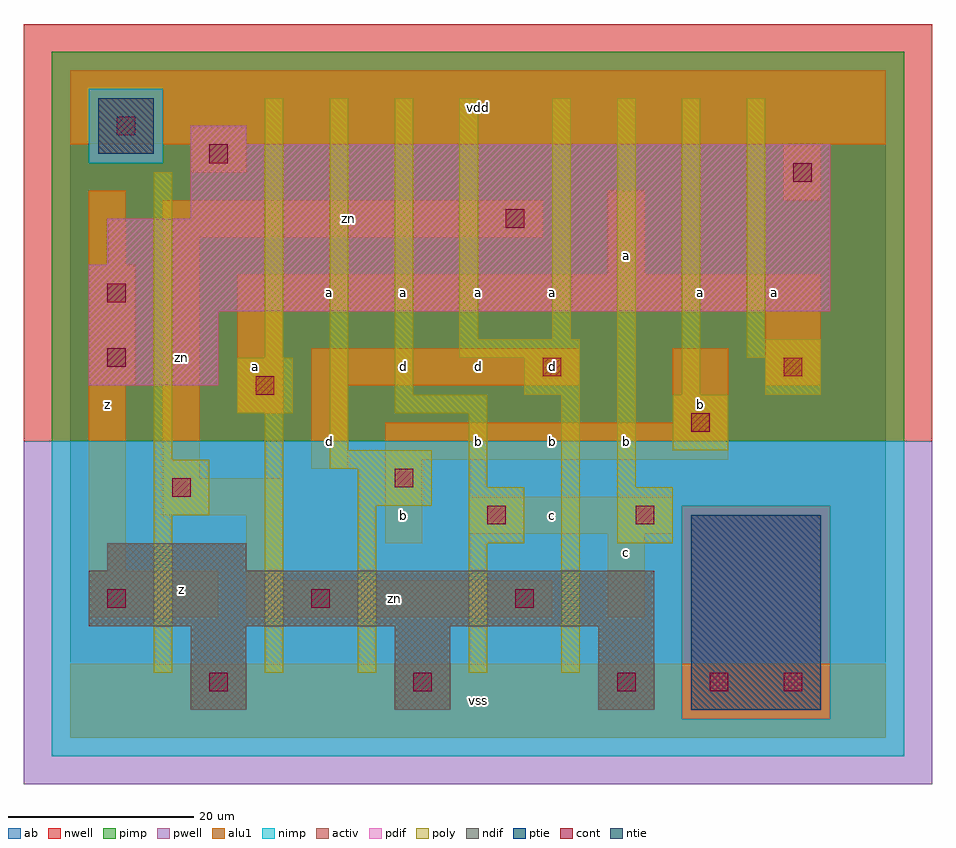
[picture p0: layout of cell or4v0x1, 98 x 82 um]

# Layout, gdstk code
import gdstk
lib = gdstk.Library(unit=1e-6, precision=1e-09)
def R(c, l, rs):  # rectangles x0, y0, x1, y1
    for r in rs: c.add(gdstk.rectangle(r[:2], r[2:], *l))
def A(c, l, x, y, w, h, nx, ny, dx, dy):  # array of equal rectangles
    R(c, l, [(x+i*dx, y+j*dy, x+i*dx+w, y+j*dy+h) for i in range(nx) for j in range(ny)])
ndif = (3, 0)
pdif = (4, 0)
ntie = (5, 0)
ptie = (6, 0)
cont = (25, 0)
pwell = (41, 0)
nwell = (42, 0)
activ = (43, 0)
pimp = (44, 0)
nimp = (45, 0)
poly = (46, 0)
alu1 = (49, 0)
ab = (63, 0)

or4v0x1 = lib.new_cell('or4v0x1')
A(or4v0x1, ndif, 13, 3, 6, 9, 3, 1, 22, 0)
R(or4v0x1, ndif, [(2,12,63,18), (4,18,19,21)])
R(or4v0x1, pdif, [(2,38,16,46), (2,46,82,51), (4,51,82,56), (13,56,82,64), (13,64,19,66)])
R(or4v0x1, ntie, [(3,63,9,69)])
R(or4v0x1, ptie, [(67,3,81,24)])
A(or4v0x1, cont, 15, 5, 2, 2, 3, 1, 22, 0)
A(or4v0x1, cont, 4, 14, 2, 2, 3, 1, 22, 0)
R(or4v0x1, cont, [(69,5,71,7), (77,5,79,7), (45,23,47,25), (61,23,63,25), (11,26,13,28), (35,27,37,29), (67,33,69,35), (20,37,22,39), (51,39,53,41), (77,39,79,41), (4,40,6,42), (4,47,6,49), (47,55,49,57), (78,60,80,62), (15,62,17,64), (5,65,7,67)])
R(or4v0x1, pwell, [(-5,-5,93,32)])
R(or4v0x1, nwell, [(-5,32,93,77)])
A(or4v0x1, activ, 13, 3, 6, 9, 3, 1, 22, 0)
R(or4v0x1, activ, [(67,3,81,24), (2,12,63,18), (4,18,19,21), (2,38,16,46), (2,46,82,51), (4,51,82,56), (13,56,82,64), (3,63,9,69), (13,64,19,66)])
R(or4v0x1, pimp, [(66,2,82,25), (-2,32,90,62), (-2,62,2,70), (10,62,90,70), (-2,70,90,74)])
R(or4v0x1, nimp, [(-2,-2,90,2), (-2,2,66,25), (82,2,90,25), (-2,25,90,32), (2,62,10,70)])
R(or4v0x1, poly, [(9,7,11,24), (21,7,23,35), (31,7,33,25), (43,7,45,21), (53,7,55,37), (43,21,49,27), (59,21,65,27), (9,24,15,30), (31,25,39,29), (43,27,45,35), (59,27,61,69), (28,29,39,31), (9,30,11,61), (28,31,30,69), (65,31,71,37), (18,35,24,41), (35,35,45,37), (35,37,37,69), (49,37,55,41), (66,37,68,69), (75,37,81,41), (21,41,23,69), (42,41,55,43), (73,41,81,43), (42,43,44,69), (52,43,54,69), (73,43,75,69)])
R(or4v0x1, alu1, [(0,0,88,8), (2,13,16,18), (19,13,52,17), (58,13,62,22), (19,17,23,24), (2,18,6,38), (34,21,38,30), (43,22,65,26), (10,24,23,28), (10,28,14,54), (26,29,30,38), (34,30,71,34), (65,34,71,42), (18,35,23,46), (2,38,7,51), (26,38,55,42), (75,38,81,46), (18,46,81,50), (58,50,62,59), (2,51,6,59), (10,54,51,58), (77,58,81,64), (13,61,19,64), (0,64,88,72)])
R(or4v0x1, ab, [(0,0,88,72)])
or4v0x1.add(gdstk.Label('zn', (12,41), layer=49, texttype=0))
or4v0x1.add(gdstk.Label('zn', (35,15), layer=49, texttype=0))
or4v0x1.add(gdstk.Label('zn', (30,56), layer=49, texttype=0))
or4v0x1.add(gdstk.Label('z', (12,16), layer=49, texttype=0))
or4v0x1.add(gdstk.Label('z', (4,36), layer=49, texttype=0))
or4v0x1.add(gdstk.Label('b', (36,24), layer=49, texttype=0))
or4v0x1.add(gdstk.Label('d', (28,32), layer=49, texttype=0))
or4v0x1.add(gdstk.Label('d', (36,40), layer=49, texttype=0))
or4v0x1.add(gdstk.Label('a', (20,40), layer=49, texttype=0))
or4v0x1.add(gdstk.Label('a', (36,48), layer=49, texttype=0))
or4v0x1.add(gdstk.Label('a', (28,48), layer=49, texttype=0))
or4v0x1.add(gdstk.Label('vss', (44,4), layer=49, texttype=0))
or4v0x1.add(gdstk.Label('c', (60,20), layer=49, texttype=0))
or4v0x1.add(gdstk.Label('b', (44,32), layer=49, texttype=0))
or4v0x1.add(gdstk.Label('b', (52,32), layer=49, texttype=0))
or4v0x1.add(gdstk.Label('b', (60,32), layer=49, texttype=0))
or4v0x1.add(gdstk.Label('c', (52,24), layer=49, texttype=0))
or4v0x1.add(gdstk.Label('d', (52,40), layer=49, texttype=0))
or4v0x1.add(gdstk.Label('d', (44,40), layer=49, texttype=0))
or4v0x1.add(gdstk.Label('a', (44,48), layer=49, texttype=0))
or4v0x1.add(gdstk.Label('a', (60,52), layer=49, texttype=0))
or4v0x1.add(gdstk.Label('a', (52,48), layer=49, texttype=0))
or4v0x1.add(gdstk.Label('vdd', (44,68), layer=49, texttype=0))
or4v0x1.add(gdstk.Label('b', (68,36), layer=49, texttype=0))
or4v0x1.add(gdstk.Label('a', (68,48), layer=49, texttype=0))
or4v0x1.add(gdstk.Label('a', (76,48), layer=49, texttype=0))

lib.write_gds('or4v0x1.gds')
